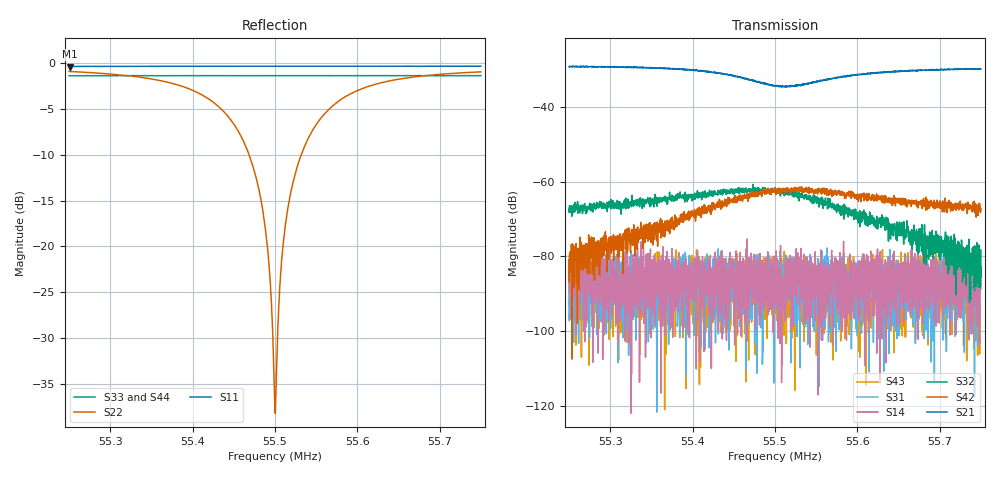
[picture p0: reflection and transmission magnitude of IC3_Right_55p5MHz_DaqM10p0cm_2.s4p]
#  HZ  S  DB  R  50.00
! Rohde & Schwarz Vector Network Analyzer
! Rohde-Schwarz,ZNB8-4Port,1311601044102961,2.82
! Created: UTC 2/13/2019, 2:23:20 PM
! freq[Hz]  db:S11  ang:S11  db:S12  ang:S12  db:S13  ang:S13  db:S14  ang:S14
!  db:S21  ang:S21  db:S22  ang:S22  db:S23  ang:S23  db:S24  ang:S24
!  db:S31  ang:S31  db:S32  ang:S32  db:S33  ang:S33  db:S34  ang:S34
!  db:S41  ang:S41  db:S42  ang:S42  db:S43  ang:S43  db:S44  ang:S44
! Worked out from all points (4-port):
!   2001 points, 55.25 MHz to 55.75 MHz, reference 50 ohm
!   strongest paths, dB at 55.25 MHz, 55.375 MHz, 55.5 MHz, 55.625 MHz, 55.75 MHz:
!     S21: -29.2, -29.8, -34.4, -30.8, -29.8
!     S42: -80.9, -72.6, -61.6, -64.7, -67.2
!     S32: -67.4, -64.1, -63.1, -70.5, -78.3
!     S14: -86.9, -96.0, -92.9, -100.0, -83.4
!     S31: -83.0, -84.6, -87.1, -98.1, -88.8
!     S43: -93.1, -85.8, -83.1, -95.3, -87.9
!   lowest |S11| = -0.4 dB at 55.251 MHz (marker M1), VSWR 42.34, Z = 2.09 + j43.8 ohm
!   |S11| at or under -10 dB: nowhere
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5.525e7  -0.40 97.5  -29.18 75.8  -92.75 -126.8  -86.93 -38.8
         -29.22 75.4  -0.95 -126.5  -66.79 -137.6  -85.97 47.4
         -83.03 136.0  -67.39 -143.6  -1.41 24.7  -92.92 35.3
         -90.62 171.6  -80.89 7.1  -93.15 113.5  -1.43 31.2
5.5251e7  -0.41 97.5  -29.20 75.2  -101.48 45.5  -88.36 145.1
          -29.16 75.6  -0.96 -126.7  -67.66 -142.3  -80.92 -18.8
          -81.99 -80.5  -66.88 -145.0  -1.41 24.7  -86.94 -26.1
          -82.27 60.4  -78.85 20.9  -89.98 96.8  -1.43 31.2
5.545075e7  -0.38 93.8  -31.73 55.8  -94.09 39.5  -93.02 -179.1
            -31.63 56.5  -6.78 -178.5  -62.36 166.5  -65.25 -22.4
            -90.01 -85.8  -62.86 165.3  -1.41 22.2  -85.44 124.8
            -87.32 -174.3  -64.94 -25.3  -89.96 -5.2  -1.42 28.7
5.550025e7  -0.39 92.9  -34.38 65.4  -82.69 -22.9  -83.80 -175.6
            -34.32 65.7  -38.16 -120.0  -62.88 138.8  -62.27 -54.1
            -84.53 21.3  -62.56 139.4  -1.40 21.6  -90.32 -16.4
            -113.36 -171.7  -62.46 -58.5  -88.51 16.1  -1.42 28.1
5.551525e7  -0.38 92.6  -34.55 73.8  -84.98 -97.3  -80.51 102.3
            -34.53 73.1  -16.05 -46.3  -62.75 125.5  -61.53 -63.1
            -89.52 103.6  -63.02 129.2  -1.40 21.4  -93.94 47.2
            -84.13 86.3  -62.54 -65.0  -87.94 -94.4  -1.43 27.9
5.555e7  -0.39 92.0  -33.17 84.7  -87.22 -166.2  -90.13 171.8
         -33.30 86.0  -6.73 -64.8  -65.49 115.2  -62.04 -86.7
         -87.61 146.8  -64.61 111.7  -1.41 20.9  -89.46 -144.5
         -92.99 -162.8  -62.94 -82.6  -82.94 25.5  -1.42 27.5
5.575e7  -0.37 88.3  -29.72 74.8  -84.50 -158.6  -83.39 -51.2
         -29.78 74.6  -0.99 -116.7  -82.79 58.6  -65.96 -137.5
         -88.84 -115.5  -78.28 61.9  -1.40 18.4  -82.05 -121.3
         -83.82 -126.4  -67.23 -128.9  -87.86 145.9  -1.42 25.0
